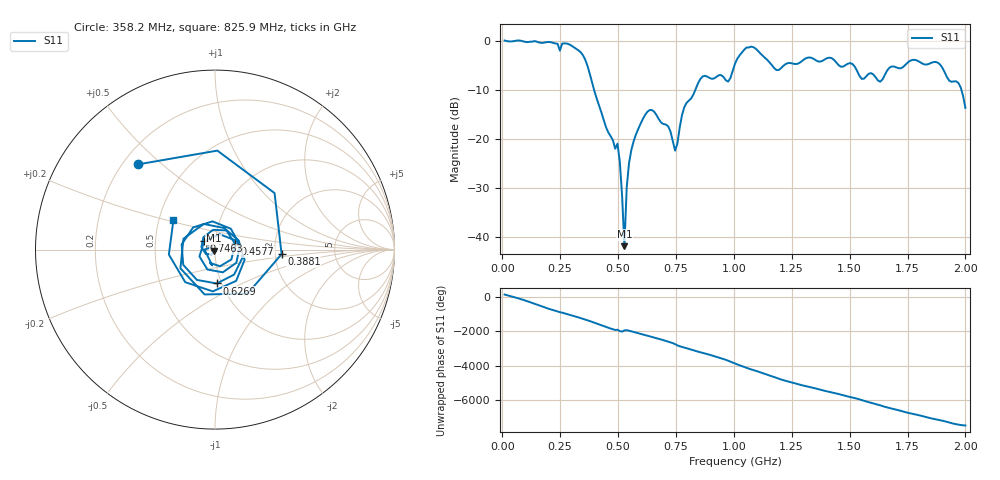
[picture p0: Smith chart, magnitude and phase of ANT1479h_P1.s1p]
!Created with skrf (http://scikit-rf.org).
# Hz S RI R 50.0
!freq ReS11 ImS11
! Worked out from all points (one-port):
!   201 points, 10 MHz to 2 GHz, reference 50 ohm
!   lowest |S11| = -41.9 dB at 527.4 MHz (marker M1), VSWR 1.02, Z = 49.4 - j0.545 ohm
!   |S11| at or under -10 dB: 396.3 MHz to 833.8 MHz (437.5 MHz wide, 71.1 % of centre); 1.983 GHz to end of sweep
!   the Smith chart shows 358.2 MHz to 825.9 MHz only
!   S11 on the Smith chart (normalised r, x): 358.2 MHz: 0.26, +0.42; 388.1 MHz: 2.18, -0.13; 457.8 MHz: 1.25, +0.08; 626.9 MHz: 0.95, -0.37; 746.3 MHz: 0.88, +0.08; 825.9 MHz: 0.60, +0.22
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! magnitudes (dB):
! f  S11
! 10 MHz  0.0
! 258.8 MHz  -0.6
! 358.2 MHz  -3.9
! 388.1 MHz  -8.6
! 457.8 MHz  -18.7
! 497.6 MHz  -21.0
! 507.5 MHz  -24.7
! 527.4 MHz  -41.9
! 537.4 MHz  -29.9
! 547.3 MHz  -25.0
! 626.9 MHz  -14.5
! 716.5 MHz  -17.5
! 746.3 MHz  -22.4
! 756.2 MHz  -21.0
! 786.1 MHz  -13.5
! 825.9 MHz  -10.9
! 865.7 MHz  -7.3
! 975.1 MHz  -8.3
! 1.005 GHz  -4.7
! 1.075 GHz  -1.2
! 1.184 GHz  -6.0
! 1.254 GHz  -4.6
! 1.502 GHz  -4.6
! 1.632 GHz  -8.4
! 1.751 GHz  -4.4
! 1.881 GHz  -4.5
! 1.97 GHz  -8.6
! 2 GHz  -13.7
